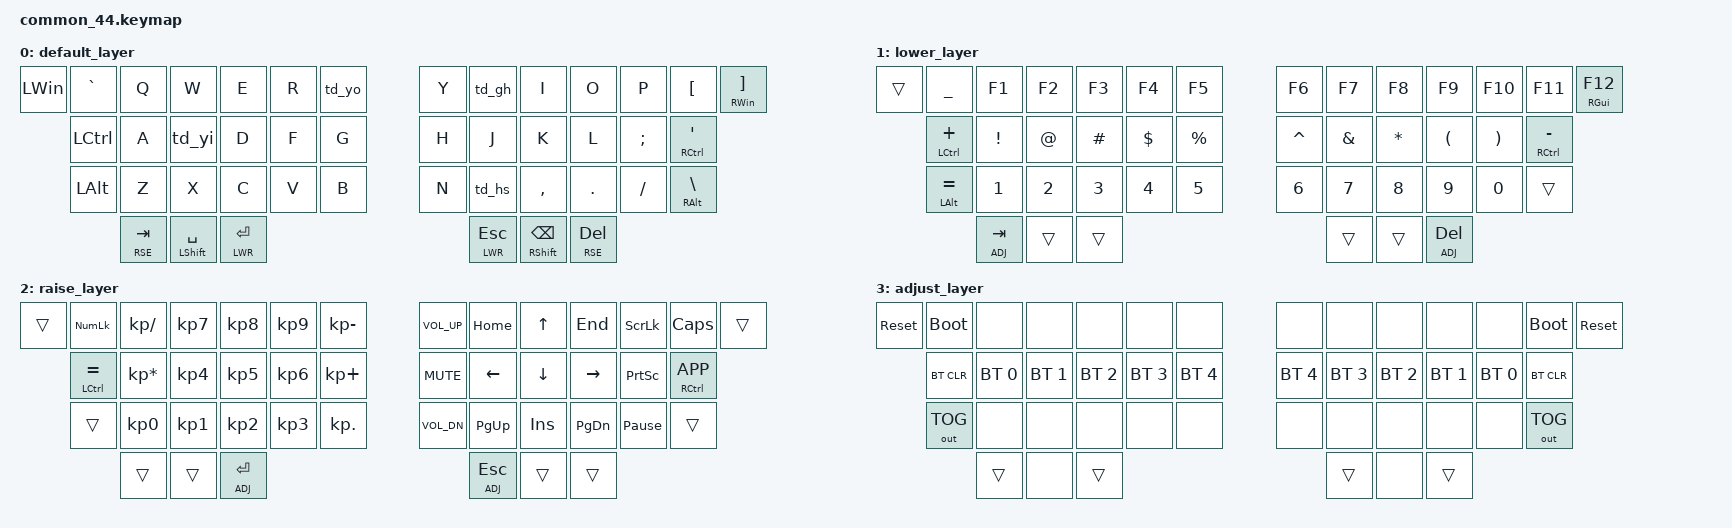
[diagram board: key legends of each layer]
/*
 * Copyright (c) 2020 The ZMK Contributors
 *
 * SPDX-License-Identifier: MIT
 */

#include <behaviors.dtsi>
#include <dt-bindings/zmk/keys.h>
#include <dt-bindings/zmk/bt.h>
#include <dt-bindings/zmk/outputs.h>

#define DEF 0
#define LWR 1
#define RSE 2
#define ADJ 3

&lt { quick-tap-ms = <200>; };
&mt { quick-tap-ms = <200>; };

/ {
    behaviors {
        // https://zmk.dev/docs/behaviors/macros#unicode-sequences
        // https://github.com/samhocevar/wincompose
        // Unicode code composition: Use <&macro_tap &kp RALT &kp U>, <macro sequence>, <&macro_tap &kp RET>;
        // Base code composition: Use <&macro_tap &kp RALT>, <macro sequence>;
        left_brace: left_brace {
            compatible = "zmk,behavior-macro";
            label = "ZM_left_brace";
            #binding-cells = <0>;
            wait-ms = <40>;
            tap-ms = <40>;
            bindings
                = <&macro_tap &kp RALT>
                , <&macro_tap &kp MINUS>
                , <&macro_tap &kp LEFT_PARENTHESIS>;
        };

        right_brace: right_brace {
            compatible = "zmk,behavior-macro";
            label = "ZM_right_brace";
            #binding-cells = <0>;
            wait-ms = <40>;
            tap-ms = <40>;
            bindings
                = <&macro_tap &kp RALT>
                , <&macro_tap &kp MINUS>
                , <&macro_tap &kp RIGHT_PARENTHESIS>;
        };

        left_bracket: left_bracket {
            compatible = "zmk,behavior-macro";
            label = "ZM_left_bracket";
            #binding-cells = <0>;
            wait-ms = <40>;
            tap-ms = <40>;
            bindings
                = <&macro_tap &kp RALT>
                , <&macro_tap &kp LEFT_PARENTHESIS>
                , <&macro_tap &kp LEFT_PARENTHESIS>;
        };
        
        right_bracket: right_bracket {
            compatible = "zmk,behavior-macro";
            label = "ZM_right_bracket";
            #binding-cells = <0>;
            wait-ms = <40>;
            tap-ms = <40>;
            bindings
                = <&macro_tap &kp RALT>
                , <&macro_tap &kp RIGHT_PARENTHESIS>
                , <&macro_tap &kp RIGHT_PARENTHESIS>;
        };
        
        ukr_gh: ukr_gh {
            compatible = "zmk,behavior-macro";
            label = "ZM_ukr_gh";
            #binding-cells = <0>;
            wait-ms = <40>;
            tap-ms = <40>;
            bindings
                = <&macro_press &kp RALT>
                , <&macro_tap &kp U>
                , <&macro_release &kp RALT>;
        };

        td_yo: tap_dance_ru_yo {
            compatible = "zmk,behavior-tap-dance";
            label = "TAP_DANCE_RU_YO";
            #binding-cells = <0>;
            tapping-term-ms = <250>;
            bindings = <&kp T>, <&kp GRAVE>;
        };

        td_hs: tap_dance_ru_hard_sign {
            compatible = "zmk,behavior-tap-dance";
            label = "TAP_DANCE_RU_HARD_SIGN";
            #binding-cells = <0>;
            tapping-term-ms = <250>;
            bindings = <&kp M>, <&kp RIGHT_BRACKET>;
        };
        
        td_yi: tap_dance_ukr_yi {
            compatible = "zmk,behavior-tap-dance";
            label = "TAP_DANCE_UKR_YI";
            #binding-cells = <0>;
            tapping-term-ms = <250>;
            bindings = <&kp S>, <&kp RIGHT_BRACKET>;
        };
        
        td_gh: tap_dance_ukr_gh {
            compatible = "zmk,behavior-tap-dance";
            label = "TAP_DANCE_UKR_GH";
            #binding-cells = <0>;
            tapping-term-ms = <250>;
            bindings = <&kp U>, <&ukr_gh>;
        };

    };


		combos {
                compatible = "zmk,combos";

                LParenthesis {
                    bindings = <&kp LEFT_PARENTHESIS>;
                    key-positions = <5 6>;
                };

                RParenthesis {
                    bindings = <&kp RIGHT_PARENTHESIS>;
                    key-positions = <7 8>;
                };

                LBrace {
                    bindings = <&left_brace>;
                    key-positions = <18 19>;
                };

                RBrace {
                    bindings = <&right_brace>;
                    key-positions = <20 21>;
                };

                LBracket {
                    bindings = <&left_bracket>;
                    key-positions = <30 31>;
                };

                RBracket {
                    bindings = <&right_bracket>;
                    key-positions = <32 33>;
                };
        };

        keymap {
                compatible = "zmk,keymap";

                default_layer {
// -----------------------------------------------------------------------------------------
// |  GUI |   ~  |  Q  |  W  |  E  |  R  |  T  |   |  Y  |  U   |  I  |  O  |  P  |  [   | GUI/] |
//        | CTRL |  A  |  S  |  D  |  F  |  G  |   |  H  |  J   |  K  |  L  |  ;  |CTRL/'|
//        | LALT |  Z  |  X  |  C  |  V  |  B  |   |  N  |  M   |  ,  |  .  |  /  | RALT |
//                           | RSE | SPC | LWR |   | LWR | BKSP | RSE |
                        bindings = <
   &kp LWIN &kp GRAVE &kp Q &kp W  &kp E &kp R &td_yo              &kp Y  &td_gh  &kp I     &kp O   &kp P    &kp LBKT &mt RWIN RBKT
            &kp LCTRL &kp A &td_yi &kp D &kp F &kp G               &kp H  &kp J   &kp K     &kp L   &kp SEMI &mt RCTRL SQT
            &kp LALT  &kp Z &kp X  &kp C &kp V &kp B               &kp N  &td_hs  &kp COMMA &kp DOT &kp FSLH &mt RALT BSLH
                    &lt RSE TAB &mt LSHFT SPACE &lt LWR RET   &lt LWR ESC &mt RSHFT BSPC &lt RSE DEL
                        >;
                };
                lower_layer {
// -----------------------------------------------------------------------------------------
// |     |  _  |  F1 |  F2 |  F3 |  F4 |  F5 |   |  F6 |  F7 |  F8 |  F9 | F10 | F11 | F12 |
//       |  +  |  !  |  @  |  #  |  $  |  %  |   |  ^  |  &  |  *  |  (  |  )  |  -  |
//       |  =  |  1  |  2  |  3  |  4  |  5  |   |  6  |  7  |  8  |  9  |  0  |     |
//                    | GUI |     | SPC |   | ENT |     | ALT |
                        bindings = <
   &trans &kp UNDER      &kp F1   &kp F2 &kp F3   &kp F4   &kp F5           &kp F6    &kp F7   &kp F8   &kp F9   &kp F10  &kp F11 &mt RGUI F12
          &mt LCTRL PLUS &kp EXCL &kp AT &kp HASH &kp DLLR &kp PRCNT        &kp CARET &kp AMPS &kp STAR &kp LPAR &kp RPAR &mt RCTRL MINUS
          &mt LALT EQUAL &kp N1   &kp N2 &kp N3   &kp N4   &kp N5           &kp N6    &kp N7   &kp N8   &kp N9   &kp N0   &trans
                                              &lt ADJ TAB &trans &trans   &trans &trans &lt ADJ DEL
                        >;
                };

                raise_layer {
// -----------------------------------------------------------------------------------------
// |     | NMLK |  /  |  7  |  8  |  9  |  -  |   | VOLU| HOME |  UP  | END | SCLK| CLCK|     |
//       | CTRL |  *  |  4  |  5  |  6  |  +  |   | MUT | LEFT | DOWN | RGHT| PRSC| APP |
//       |      |  0  |  1  |  2  |  3  |  .  |   | VOLD| PGUP |  INS | PGDN| PAUS|     |
//                          |     |     | ADJ |   | ADJ |      |      |
                        bindings = <
   &trans &kp KP_NUM      &kp KP_SLASH    &kp KP_N7 &kp KP_N8 &kp KP_N9 &kp KP_MINUS        &kp C_VOL_UP &kp HOME  &kp UP   &kp END   &kp SLCK        &kp CAPS &trans
          &mt LCTRL EQUAL &kp KP_MULTIPLY &kp KP_N4 &kp KP_N5 &kp KP_N6 &kp KP_PLUS         &kp C_MUTE   &kp LEFT  &kp DOWN &kp RIGHT &kp PSCRN       &mt RCTRL K_APP
          &trans          &kp KP_N0       &kp KP_N1 &kp KP_N2 &kp KP_N3 &kp KP_DOT          &kp C_VOL_DN &kp PG_UP &kp INS  &kp PG_DN &kp PAUSE_BREAK &trans
                                                           &trans &trans &lt ADJ RET   &lt ADJ ESC &trans &trans
                        >;
                };
                adjust_layer {
// -----------------------------------------------------------------------------------------
// | RST | BLDR |     |     |     |     |     |   |     |     |     |     |     | BLDR | RST |
//       | BTCLR| BT0 | BT1 | BT2 | BT3 | BT4 |   | BT4 | BT3 | BT2 | BT1 | BT0 | BTCLR|
//       |      |     |     |     |     |     |   |     |     |     |     |     |      |
//                          |     |     |     |   |     |     |     |
                        bindings = <
   &sys_reset &bootloader  &none        &none        &none        &none        &none              &none        &none        &none        &none        &none         &bootloader &sys_reset
              &bt BT_CLR   &bt BT_SEL 0 &bt BT_SEL 1 &bt BT_SEL 2 &bt BT_SEL 3 &bt BT_SEL 4       &bt BT_SEL 4 &bt BT_SEL 3 &bt BT_SEL 2 &bt BT_SEL 1 &bt BT_SEL 0  &bt BT_CLR
              &out OUT_TOG &none        &none        &none        &none        &none              &none        &none        &none        &none        &none         &out OUT_TOG
                                                                          &trans &none &trans   &trans &none &trans
                        >;
                };
        };
};
